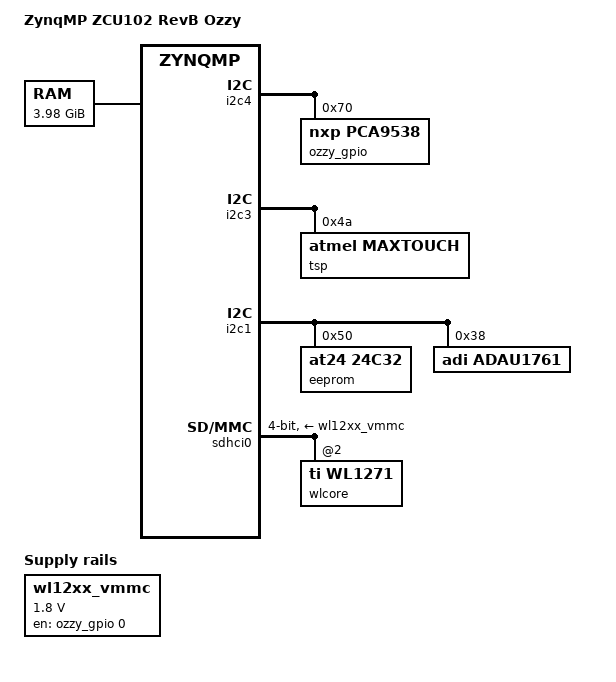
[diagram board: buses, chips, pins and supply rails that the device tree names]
/*
 * dts file for Xilinx ZynqMP ZCU102 RevB with iVeia Ozzy FMC
 *
 * (C) Copyright 2016, iVeia, Inc.
 * (C) Copyright 2016, Mentor Graphics, Inc.
 *
 * Alexey Firago <alexey_firago@mentor.com>
 * Nicusor Huhulea <Nicusor_Huhulea@mentor.com>
 *
 * This program is free software; you can redistribute it and/or
 * modify it under the terms of the GNU General Public License as
 * published by the Free Software Foundation; either version 2 of
 * the License, or (at your option) any later version.
 */

#include "zynqmp-zcu102-revB.dts"

/ {
	model = "ZynqMP ZCU102 RevB Ozzy";

	chosen {
		#address-cells = <2>;
		#size-cells = <2>;
		ranges;
		framebuffer0: framebuffer@7f000000 {
			compatible = "simple-framebuffer";
			reg = <0x0 0x7f000000 0x0 0x1000000>;
			width = <800>;
			height = <480>;
			stride = <(800 * 2)>;
			format = "r5g6b5";
		};
	};

	memory {
		device_type = "memory";
		reg = <0x0 0x0 0x0 0x7f000000>, <0x8 0x00000000 0x0 0x80000000>;
	};

	regulators {
		compatible = "simple-bus";
		#address-cells = <1>;
		#size-cells = <0>;

		wl12xx_vmmc: regulator@0 {
			compatible = "regulator-fixed";
			reg = <0>;
			regulator-name = "wlan-en";
			regulator-min-microvolt = <1800000>;
			regulator-max-microvolt = <1800000>;
			gpio = <&ozzy_gpio 0 0>;
			startup-delay-us = <70000>;
			enable-active-high;
		};
	};

	amba: amba {
		i2c4: i2c@80010000 {
			compatible = "xlnx,xps-iic-2.00.a";
			interrupt-parent = <&gic>;
			interrupts = <0 90 2>;
			reg = <0x0 0x80010000 0x1000>;
			xlnx,clk-freq = <0x5f5e100>;
			xlnx,gpo-width = <0x1>;
			xlnx,iic-freq = <0x186a0>;
			xlnx,scl-inertial-delay = <0x0>;
			xlnx,sda-inertial-delay = <0x0>;
			xlnx,ten-bit-adr = <0x0>;
			#address-cells = <1>;
			#size-cells = <0>;

			ozzy_gpio: gpio@70 {
				compatible = "nxp,pca9538";
				reg = <0x70>;
				gpio-controller;
				#gpio-cells = <2>;

				i2c_sel0 {
					gpio-hog;
					gpios = <4 0>;
					output-high;
					line-name = "lcden";
				};
			};
		};

		i2c3: i2c@80000000 {
			compatible = "xlnx,xps-iic-2.00.a";
			interrupt-parent = <&gic>;
			interrupts = <0 89 2>;
			reg = <0x0 0x80000000 0x1000>;
			#address-cells = <1>;
			#size-cells = <0>;
			tsp@4a {
				compatible = "atmel,maxtouch";
				#address-cells = <1>;
				#size-cells = <0>;
				reg = <0x4a>;
				interrupt-parent = <&gic>;
				interrupts = <0 91 4>;
				atmel,irq-flags = <0>;
			};
		};
	};
};

&i2c1 {
	i2cswitch@75 {
		i2c@0 {
			eeprom@50 {
				compatible = "at24,24c32";
				reg = <0x50>;
				pagesize = <32>;
			};

			adau1761@38 {
				compatible = "adi,adau1761";
				reg = <0x38>;
			};

		};
	};
};

&sdhci0 {
	status = "okay";
	vmmc-supply = <&wl12xx_vmmc>;
	bus-width = <4>;
	cap-power-off-card;
	keep-power-in-suspend;

	#address-cells = <1>;
	#size-cells = <0>;
	wlcore: wlcore@2 {
		compatible = "ti,wl1271";
		reg = <2>;
		interrupt-parent = <&gic>;
		interrupts = <0 92 4>;
		ref-clock-frequency = <38400000>;
	};
};
